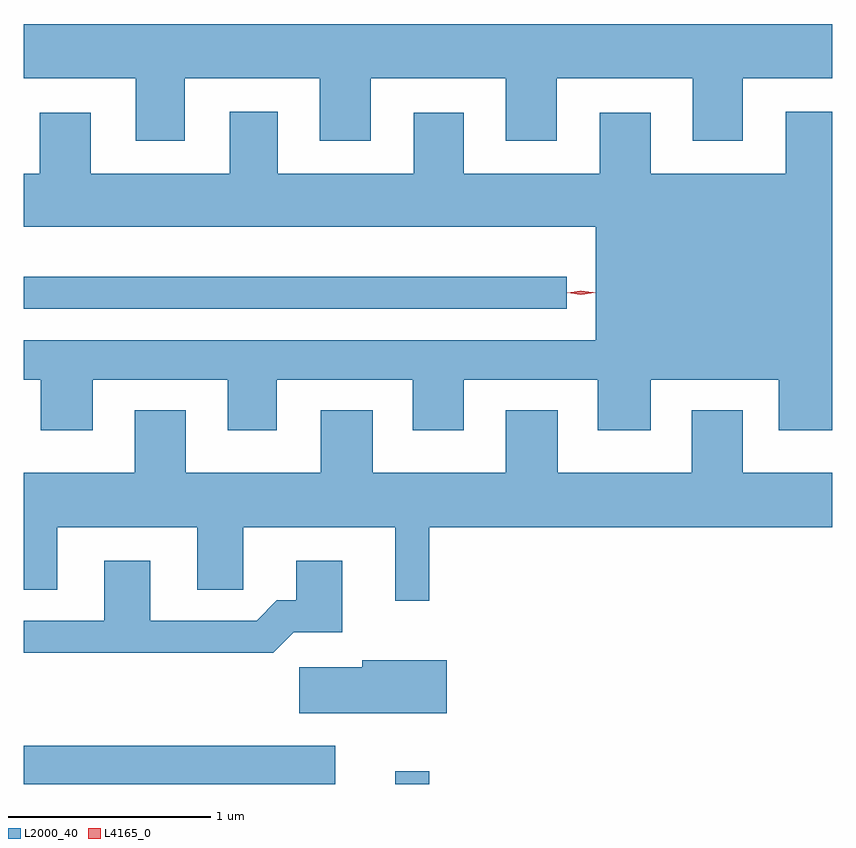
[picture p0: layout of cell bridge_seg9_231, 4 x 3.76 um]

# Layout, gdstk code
import gdstk
lib = gdstk.Library(unit=1e-6, precision=1e-09)
def R(c, l, rs):  # rectangles x0, y0, x1, y1
    for r in rs: c.add(gdstk.rectangle(r[:2], r[2:], *l))
def P(c, l, *ps):  # polygons
    for p in ps: c.add(gdstk.Polygon(p, *l))
L2000_40 = (2000, 40)
L4165_0 = (4165, 0)

bridge_seg9_231 = lib.new_cell('bridge_seg9_231')
R(bridge_seg9_231, L2000_40, [(1444.052,1959.466,1445.594,1959.654), (1445.891,1959.466,1446.059,1959.528), (1444.052,1961.816,1446.738,1961.974)])
P(bridge_seg9_231, L2000_40, [(1444.849,1962.956),(1445.516,1962.956),(1445.516,1962.646),(1445.769,1962.646),(1445.769,1962.956),(1446.436,1962.956),(1446.436,1962.646),(1446.689,1962.646),(1446.689,1962.956),(1447.361,1962.956),(1447.361,1962.646),(1447.609,1962.646),(1447.609,1962.956),(1448.052,1962.956),(1448.052,1963.224),(1444.052,1963.224),(1444.052,1962.956),(1444.606,1962.956),(1444.606,1962.646),(1444.849,1962.646)],
  [(1444.394,1961.466),(1445.061,1961.466),(1445.061,1961.216),(1445.304,1961.216),(1445.304,1961.466),(1445.976,1961.466),(1445.976,1961.216),(1446.229,1961.216),(1446.229,1961.466),(1446.891,1961.466),(1446.891,1961.216),(1447.154,1961.216),(1447.154,1961.466),(1447.786,1961.466),(1447.786,1961.216),(1448.052,1961.216),(1448.052,1962.789),(1447.821,1962.789),(1447.821,1962.484),(1447.154,1962.484),(1447.154,1962.784),(1446.901,1962.784),(1446.901,1962.484),(1446.229,1962.484),(1446.229,1962.784),(1445.981,1962.784),(1445.981,1962.484),(1445.309,1962.484),(1445.309,1962.789),(1445.071,1962.789),(1445.071,1962.484),(1444.384,1962.484),(1444.384,1962.784),(1444.131,1962.784),(1444.131,1962.484),(1444.052,1962.484),(1444.052,1962.221),(1446.881,1962.221),(1446.881,1961.659),(1444.052,1961.659),(1444.052,1961.466),(1444.136,1961.466),(1444.136,1961.216),(1444.394,1961.216)],
  [(1446.059,1960.736),(1448.052,1960.736),(1448.052,1961.004),(1447.609,1961.004),(1447.609,1961.314),(1447.356,1961.314),(1447.356,1961.004),(1446.694,1961.004),(1446.694,1961.314),(1446.436,1961.314),(1446.436,1961.004),(1445.779,1961.004),(1445.779,1961.314),(1445.521,1961.314),(1445.521,1961.004),(1444.854,1961.004),(1444.854,1961.314),(1444.601,1961.314),(1444.601,1961.004),(1444.052,1961.004),(1444.052,1960.426),(1444.219,1960.426),(1444.219,1960.736),(1444.911,1960.736),(1444.911,1960.426),(1445.139,1960.426),(1445.139,1960.736),(1445.891,1960.736),(1445.891,1960.373),(1446.059,1960.373)],
  [(1445.387,1960.216),(1445.629,1960.216),(1445.629,1960.569),(1445.401,1960.569),(1445.401,1960.374),(1445.304,1960.374),(1445.204,1960.274),(1444.679,1960.274),(1444.679,1960.569),(1444.451,1960.569),(1444.451,1960.274),(1444.052,1960.274),(1444.052,1960.116),(1445.287,1960.116)],
  [(1446.144,1960.079),(1445.726,1960.079),(1445.726,1960.044),(1445.416,1960.044),(1445.416,1959.816),(1446.144,1959.816)])
P(bridge_seg9_231, L4165_0, [(1446.809,1961.884),(1446.74,1961.894),(1446.74,1961.894),(1446.74,1961.894),(1446.809,1961.904),(1446.877,1961.894),(1446.878,1961.894),(1446.877,1961.894)],
  [(1446.805,1961.886),(1446.743,1961.894),(1446.743,1961.895),(1446.743,1961.895),(1446.805,1961.906),(1446.867,1961.898),(1446.868,1961.897),(1446.867,1961.897)])

lib.write_gds('bridge_seg9_231.gds')
